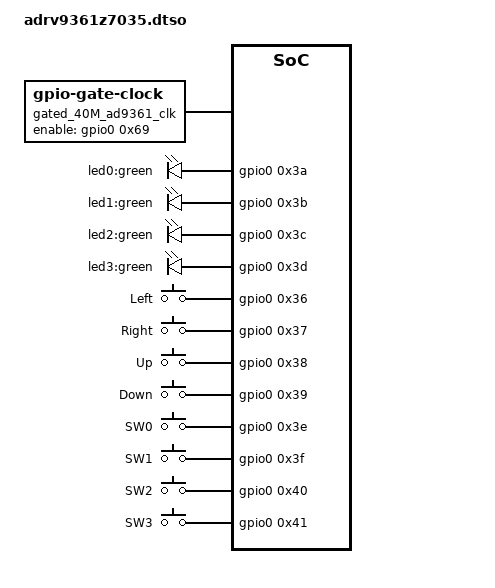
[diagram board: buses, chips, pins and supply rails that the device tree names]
/dts-v1/;
/plugin/;

/ {
    // Add board specific clocks
    fragment@0{
        target = <&clocks>;
        __overlay__{
            clk_40M_adj: clock@0 {
                #clock-cells = <0>;
                compatible = "adjustable-clock";
                clock-frequency = <40000000>;
                clock-accuracy = <200000>;
                clock-output-names = "XO_40MHz";
            };
        };
    };

    // Add clock gate
    fragment@1 {
		target-path = "/";
		__overlay__{
			gated_40M_ad9361_clk: ad9361-refclk-gpio-gate@0 {
				#clock-cells = <0>;
				compatible = "gpio-gate-clock";
				clocks = <&clk_40M_adj>;
				enable-gpios = <&gpio0 0x69 0x0>;
				clk-set-rate-parent-enable;
				clock-output-names = "ad9361_ext_refclk";
			};
		};
    };

    // Set clock in ad9361_phy
    fragment@2{
        target = <&ad9361_phy>;
        __overlay__{
            clocks = <&gated_40M_ad9361_clk 0x0>;
            adi,xo-disable-use-ext-refclk-enable;
        };
    };



	// Add board properties
	fragment@3{
		target = <&sdhci0>;
		__overlay__{
			disable-wp;
		};
	};
	fragment@4{
		target = <&clkc>;
		__overlay__{
			ps-clk-frequency = <33333333>;
		};
	};
	fragment@5{
		target = <&usb0>;
		__overlay__{
			xlnx,phy-reset-gpio = <&gpio0 0x7 0x0>;
		};
	};

	// Insert GPIO leds, buttons, and switches
	fragment@6{
		target-path = "/";
		__overlay__{
			leds {
				compatible = "gpio-leds";

				led0 {
					label = "led0:green";
					gpios = <&gpio0 0x3a 0x0>;
				};

				led1 {
					label = "led1:green";
					gpios = <&gpio0 0x3b 0x0>;
				};

				led2 {
					label = "led2:green";
					gpios = <&gpio0 0x3c 0x0>;
				};

				led3 {
					label = "led3:green";
					gpios = <&gpio0 0x3d 0x0>;
				};
			};

			gpio_keys {
				compatible = "gpio-keys";
				#address-cells = <1>;
				#size-cells = <0>;
				autorepeat;

				pb0 {
					label = "Left";
					linux,code = <0x69>;
					gpios = <&gpio0 0x36 0x0>;
				};

				pb1 {
					label = "Right";
					linux,code = <0x6a>;
					gpios = <&gpio0 0x37 0x0>;
				};

				pb2 {
					label = "Up";
					linux,code = <0x67>;
					gpios = <&gpio0 0x38 0x0>;
				};

				pb3 {
					label = "Down";
					linux,code = <0x6c>;
					gpios = <&gpio0 0x39 0x0>;
				};

				sw0 {
					label = "SW0";
					linux,input-type = <0x5>;
					linux,code = <0x0>;
					gpios = <&gpio0 0x3e 0x0>;
				};

				sw1 {
					label = "SW1";
					linux,input-type = <0x5>;
					linux,code = <0x1>;
					gpios = <&gpio0 0x3f 0x0>;
				};

				sw2 {
					label = "SW2";
					linux,input-type = <0x5>;
					linux,code = <0x2>;
					gpios = <&gpio0 0x40 0x0>;
				};

				sw3 {
					label = "SW3";
					linux,input-type = <0x5>;
					linux,code = <0x3>;
					gpios = <&gpio0 0x41 0x0>;
				};
			};
		};
	};
};
